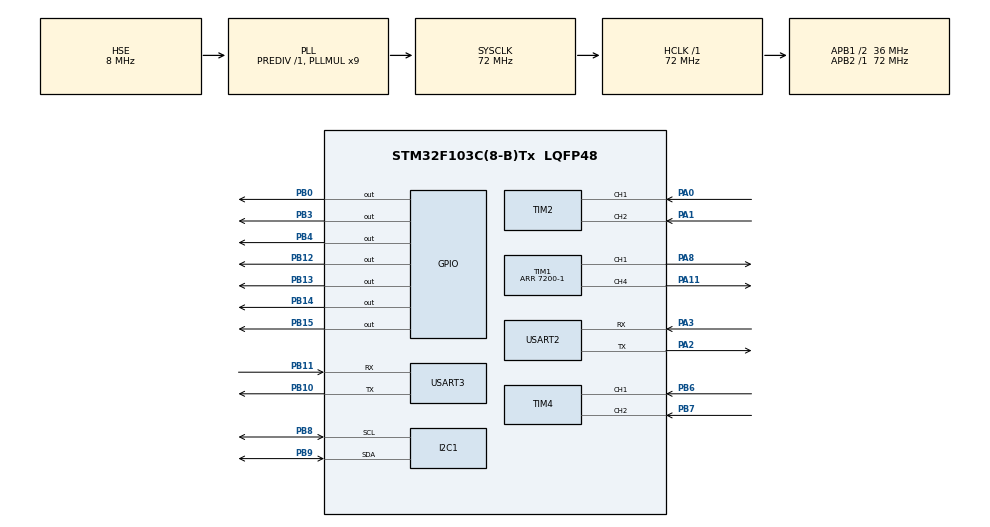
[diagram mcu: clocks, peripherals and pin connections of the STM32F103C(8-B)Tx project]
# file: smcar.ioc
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Mcu.Family=STM32F1
Mcu.Name=STM32F103C(8-B)Tx
Mcu.Package=LQFP48
NVIC.PriorityGroup=NVIC_PRIORITYGROUP_4
NVIC.TIM3_IRQn=true\:0\:0\:false\:false\:true\:true\:true\:true
NVIC.USART2_IRQn=true\:0\:0\:false\:false\:true\:true\:true\:true
PA0-WKUP.Signal=S_TIM2_CH1_ETR
PA1.Signal=S_TIM2_CH2
PA11.Signal=S_TIM1_CH4
PA13.Mode=Serial_Wire
PA13.Signal=SYS_JTMS-SWDIO
PA14.Mode=Serial_Wire
PA14.Signal=SYS_JTCK-SWCLK
PA2.Mode=Asynchronous
PA2.Signal=USART2_TX
PA3.Mode=Asynchronous
PA3.Signal=USART2_RX
PA8.Signal=S_TIM1_CH1
PB0.GPIO_PuPd=GPIO_PULLDOWN
PB0.Signal=GPIO_Output
PB10.Mode=Asynchronous
PB10.Signal=USART3_TX
PB11.Mode=Asynchronous
PB11.Signal=USART3_RX
PB12.Signal=GPIO_Output
PB13.Signal=GPIO_Output
PB14.Signal=GPIO_Output
PB15.Signal=GPIO_Output
PB3.Signal=GPIO_Output
PB4.Signal=GPIO_Output
PB6.Signal=S_TIM4_CH1
PB7.Signal=S_TIM4_CH2
PB8.Mode=I2C
PB8.Signal=I2C1_SCL
PB9.Mode=I2C
PB9.Signal=I2C1_SDA
PC14-OSC32_IN.Mode=LSE-External-Oscillator
PC14-OSC32_IN.Signal=RCC_OSC32_IN
PC15-OSC32_OUT.Mode=LSE-External-Oscillator
PC15-OSC32_OUT.Signal=RCC_OSC32_OUT
PD0-OSC_IN.Mode=HSE-External-Oscillator
PD0-OSC_IN.Signal=RCC_OSC_IN
PD1-OSC_OUT.Mode=HSE-External-Oscillator
PD1-OSC_OUT.Signal=RCC_OSC_OUT
ProjectManager.HeapSize=0x200
ProjectManager.StackSize=0x400
ProjectManager.TargetToolchain=MDK-ARM V5
RCC.AHBFreq_Value=72000000
RCC.APB1CLKDivider=RCC_HCLK_DIV2
RCC.APB1Freq_Value=36000000
RCC.APB1TimFreq_Value=72000000
RCC.APB2Freq_Value=72000000
RCC.APB2TimFreq_Value=72000000
RCC.HCLKFreq_Value=72000000
RCC.PLLMUL=RCC_PLL_MUL9
RCC.PLLSourceVirtual=RCC_PLLSOURCE_HSE
RCC.SYSCLKFreq_VALUE=72000000
RCC.SYSCLKSource=RCC_SYSCLKSOURCE_PLLCLK
RCC.USBFreq_Value=72000000
SH.S_TIM1_CH1.0=TIM1_CH1,PWM Generation1 CH1
SH.S_TIM1_CH4.0=TIM1_CH4,PWM Generation4 CH4
SH.S_TIM2_CH1_ETR.0=TIM2_CH1,Encoder_Interface
SH.S_TIM2_CH2.0=TIM2_CH2,Encoder_Interface
SH.S_TIM4_CH1.0=TIM4_CH1,Encoder_Interface
SH.S_TIM4_CH2.0=TIM4_CH2,Encoder_Interface
TIM1.Channel-PWM\ Generation1\ CH1=TIM_CHANNEL_1
TIM1.Channel-PWM\ Generation4\ CH4=TIM_CHANNEL_4
TIM1.Period=7200-1
TIM1.Pulse-PWM\ Generation1\ CH1=7200
TIM1.Pulse-PWM\ Generation4\ CH4=7200
TIM2.EncoderMode=TIM_ENCODERMODE_TI12
TIM3.Period=100-1
TIM3.Prescaler=7200-1
TIM4.EncoderMode=TIM_ENCODERMODE_TI12
USART2.VirtualMode=VM_ASYNC
USART3.VirtualMode=VM_ASYNC
VP_TIM3_VS_ClockSourceINT.Mode=Internal
board=custom

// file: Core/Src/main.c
/* USER CODE BEGIN Header */
/**
  ******************************************************************************
  * @file           : main.c
  * @brief          : Main program body
  ******************************************************************************
  * @attention
  *
  * Copyright (c) 2025 STMicroelectronics.
  * All rights reserved.
  *
  * This software is licensed under terms that can be found in the LICENSE file
  * in the root directory of this software component.
  * If no LICENSE file comes with this software, it is provided AS-IS.
  *
  ******************************************************************************
  */
/* USER CODE END Header */
#include "main.h"
#include "i2c.h"
#include "tim.h"
#include "usart.h"
#include "gpio.h"

/* USER CODE BEGIN Includes */
#include <stdio.h>
#include <string.h>
#include <stdlib.h>
#include "IIC.h"
#include "inv_mpu.h"
#include "inv_mpu_dmp_motion_driver.h"
#include "mpu6050.h"
#include "tb6612.h"
#include "motorenc.h"
#include "oled.h"
#include "pid.h"
#include "esp.h"
/* USER CODE END Includes */

/* USER CODE BEGIN PD */
#define RXBUFFERSIZE 256
/* USER CODE END PD */

/* USER CODE BEGIN PV */
float p,y,r;
char message1[50] = "";
char message2[50] = "";
char message3[50] = "";
char message4[50] = "";
char message5[50] = "";
short gx,gy,gz;
int enc_left,enc_right;
volatile int total_left = 0;
volatile int total_left2 = 0;
volatile float total_right = 0;
volatile int total_right2 = 0;
volatile float total_rightm = 0;
char RxBuffer[RXBUFFERSIZE];
uint8_t aRxBuffer;
uint8_t Uart2_Rx_Cnt = 0;
char my_order[15]={0};
char receive_flag=0;
uint8_t my_test_v = 0;
int pre_tvalue = 0;
uint8_t count = 0;
uint8_t state = 0;
uint8_t flag = 0;
/* USER CODE END PV */

void SystemClock_Config(void);
/* USER CODE BEGIN PFP */
void read(void);
void HAL_TIM_PeriodElapsedCallback(TIM_HandleTypeDef *htim);
void mode1(void);
void mode2(void);
void mode3(void);
void mode4(void);
/* USER CODE END PFP */

int main(void)
{

  /* MCU Configuration--------------------------------------------------------*/

  /* Reset of all peripherals, Initializes the Flash interface and the Systick. */
  HAL_Init();

  /* Configure the system clock */
  SystemClock_Config();

  /* Initialize all configured peripherals */
  MX_GPIO_Init();
  MX_USART3_UART_Init();
  MX_TIM1_Init();
  MX_TIM2_Init();
  MX_TIM4_Init();
  MX_I2C1_Init();
  MX_TIM3_Init();
  MX_USART2_UART_Init();
  /* USER CODE BEGIN 2 */
	OLED_Init();
	mpu_init();
	mpu_dmp_init();
  OLED_Clear();
	HAL_UART_Receive_IT(&huart2, (uint8_t *)&aRxBuffer, 1);
	esp8266_start_trans();
	tb6612_init();
	enc_init();
	while(mpu_dmp_get_data(&p,&r,&y));
	OLED_ShowString(1,1,"OK",8,1);
	OLED_Refresh();
	motorcontrol(0,0);
	HAL_TIM_Base_Start_IT(&htim3);
  /* USER CODE END 2 */

  /* Infinite loop */
  /* USER CODE BEGIN WHILE */
  while (1)
  {
//		while(mpu_dmp_get_data(&p,&r,&y));
//		sprintf(message2,"pitch:%3f\n",p);
//    OLED_ShowString(1,1,(uint8_t*)message2,8,1);
//    sprintf((char*)message3,"roll:%3f\n",r);
//    OLED_ShowString(1,10,(uint8_t*)message3,8,1);
//    sprintf((char*)message4,"yaw:%3f\n\n",y);
//    OLED_ShowString(1,20,(uint8_t*)message4,8,1);
//		OLED_Refresh();
//		HAL_Delay(50);
//		OLED_Clear();
//		read();
//		sprintf(message2,"left:%d",enc_left);
//		sprintf((char*)message3,"right:%d",enc_right);
//		sprintf(message4,"right:%.2f",total_right);
//		sprintf((char*)message1,"right2:%d",total_right2);
//		sprintf((char*)message5,"rightm:%d",total_right2);
//		OLED_ShowString(1,1,(uint8_t*)message2,8,1);
//		OLED_ShowString(1,10,(uint8_t*)message3,8,1);
//		OLED_ShowString(1,20,(uint8_t*)message4,8,1);
//		OLED_ShowString(1,30,(uint8_t*)message1,8,1);
//		OLED_ShowString(1,40,(uint8_t*)message5,8,1);
//		OLED_Refresh();
//		HAL_Delay(50);
//		control();
		if(count >= 50){
			Target_Speed = 0;
		}
//		sprintf(message2,"left:%d",Enc_left);
//    OLED_ShowString(1,1,(uint8_t*)message2,8,1);
//    sprintf((char*)message3,"right:%d",Enc_right);
//    OLED_ShowString(1,10,(uint8_t*)message3,8,1);
//		OLED_Refresh();
//		HAL_Delay(10);
		if(receive_flag)
			{
				receive_flag=0;
				if(strstr((const char*)my_order,(const char*)"<speed 1>")) //??on,LED0?
				{
					Uart2_Rx_Cnt=0;
					memset(RxBuffer,0x00,sizeof(RxBuffer)); //????
					memset(RxBuffer,0x00,sizeof(my_order)); //????
					pre_tvalue = 6;
				}
				else if(strstr((const char*)my_order,(const char*)"<speed 2>"))
				{
					Uart2_Rx_Cnt=0;
					memset(RxBuffer,0x00,sizeof(RxBuffer)); //????
					memset(RxBuffer,0x00,sizeof(my_order)); //????
					pre_tvalue = 12;
				}
				else if(strstr((const char*)my_order,(const char*)"<speed 3>"))
				{
					Uart2_Rx_Cnt=0;
					memset(RxBuffer,0x00,sizeof(RxBuffer)); //????
					memset(RxBuffer,0x00,sizeof(my_order)); //????
					pre_tvalue = 18;
				}
				else if(strstr((const char*)my_order,(const char*)"<speed 4>"))
				{
					Uart2_Rx_Cnt=0;
					memset(RxBuffer,0x00,sizeof(RxBuffer)); //????
					memset(RxBuffer,0x00,sizeof(my_order)); //????
					pre_tvalue = 24;
				}
				else if(strstr((const char*)my_order,(const char*)"<speed 5>"))
				{
					Uart2_Rx_Cnt=0;
					memset(RxBuffer,0x00,sizeof(RxBuffer)); //????
					memset(RxBuffer,0x00,sizeof(my_order)); //????
					pre_tvalue = 30;
				}
				else if(strstr((const char*)my_order,(const char*)"<position +1>"))
				{
					Uart2_Rx_Cnt=0;
					memset(RxBuffer,0x00,sizeof(RxBuffer)); //????
					memset(RxBuffer,0x00,sizeof(my_order)); //????
					Target_Speed = pre_tvalue;
					count = 0;
				}
				else if(strstr((const char*)my_order,(const char*)"<position -1>"))
				{
					Uart2_Rx_Cnt=0;
					memset(RxBuffer,0x00,sizeof(RxBuffer)); //????
					memset(RxBuffer,0x00,sizeof(my_order)); //????
					Target_Speed = -pre_tvalue;
					count = 0;
				}
				else if(strstr((const char*)my_order,(const char*)"<turn +1>"))
				{
					Uart2_Rx_Cnt=0;
					memset(RxBuffer,0x00,sizeof(RxBuffer)); //????
					memset(RxBuffer,0x00,sizeof(my_order)); //????
					Target_turn += 20;
					if(Target_turn >= 50){
						Target_turn = 50;
					}
					count = 0;
					uint32_t tick1 = HAL_GetTick();
					uint32_t tick2 = HAL_GetTick();
					while(tick2 - tick1 <= 200){
						tick2 = HAL_GetTick();
					}
					Target_turn = 0;
				}
				else if(strstr((const char*)my_order,(const char*)"<turn -1>"))
				{
					Uart2_Rx_Cnt=0;
					memset(RxBuffer,0x00,sizeof(RxBuffer)); //????
					memset(RxBuffer,0x00,sizeof(my_order)); //????
					Target_turn -= 20;
					if(Target_turn <= -50){
						Target_turn = -50;
					}
					count = 0;
					uint32_t tick1 = HAL_GetTick();
					uint32_t tick2 = HAL_GetTick();
					while(tick2 - tick1 <= 200){
						tick2 = HAL_GetTick();
					}
					Target_turn = 0;
				}
				else if(strstr((const char*)my_order,(const char*)"<mode 1>"))
				{
					Uart2_Rx_Cnt=0;
					memset(RxBuffer,0x00,sizeof(RxBuffer)); //????
					memset(RxBuffer,0x00,sizeof(my_order)); //????
					mode1();
				}
				else if(strstr((const char*)my_order,(const char*)"<mode 2>"))
				{
					Uart2_Rx_Cnt=0;
					memset(RxBuffer,0x00,sizeof(RxBuffer)); //????
					memset(RxBuffer,0x00,sizeof(my_order)); //????
					mode2();
				}
				else if(strstr((const char*)my_order,(const char*)"<restart>"))
				{
					Uart2_Rx_Cnt=0;
					memset(RxBuffer,0x00,sizeof(RxBuffer)); //????
					memset(RxBuffer,0x00,sizeof(my_order)); //????
					NVIC_SystemReset();
				}
				else if(strstr((const char*)my_order,(const char*)"<state>"))
				{
					Uart2_Rx_Cnt=0;
					memset(RxBuffer,0x00,sizeof(RxBuffer)); //????
					memset(RxBuffer,0x00,sizeof(my_order)); //????
					esp8266_send_cmd("AT+CIPSEND=0,3","OK",50);
					esp8266_send_cmd("Yes","OK",50);
				}
				else if(strstr((const char*)my_order,(const char*)"<mode 3>"))
				{
					Uart2_Rx_Cnt=0;
					memset(RxBuffer,0x00,sizeof(RxBuffer)); //????
					memset(RxBuffer,0x00,sizeof(my_order)); //????
					mode3();
				}
				else if(strstr((const char*)my_order,(const char*)"<mode 4>"))
				{
					Uart2_Rx_Cnt=0;
					memset(RxBuffer,0x00,sizeof(RxBuffer)); //????
					memset(RxBuffer,0x00,sizeof(my_order)); //????
					mode4();
				}
				else{
					Uart2_Rx_Cnt=0;
					memset(RxBuffer,0x00,sizeof(RxBuffer)); //????
					memset(RxBuffer,0x00,sizeof(my_order)); //????
				}

			}
//			if(total_right2 >= 2400 || total_right2 <= -2400){
//				Target_Speed = 0;
//			}

    /* USER CODE END WHILE */

  }
}

void SystemClock_Config(void)
{
  RCC_OscInitTypeDef RCC_OscInitStruct = {0};
  RCC_ClkInitTypeDef RCC_ClkInitStruct = {0};

  /** Initializes the RCC Oscillators according to the specified parameters
  * in the RCC_OscInitTypeDef structure.
  */
  RCC_OscInitStruct.OscillatorType = RCC_OSCILLATORTYPE_HSE;
  RCC_OscInitStruct.HSEState = RCC_HSE_ON;
  RCC_OscInitStruct.HSEPredivValue = RCC_HSE_PREDIV_DIV1;
  RCC_OscInitStruct.HSIState = RCC_HSI_ON;
  RCC_OscInitStruct.PLL.PLLState = RCC_PLL_ON;
  RCC_OscInitStruct.PLL.PLLSource = RCC_PLLSOURCE_HSE;
  RCC_OscInitStruct.PLL.PLLMUL = RCC_PLL_MUL9;
  if (HAL_RCC_OscConfig(&RCC_OscInitStruct) != HAL_OK)
  {
    Error_Handler();
  }

  /** Initializes the CPU, AHB and APB buses clocks
  */
  RCC_ClkInitStruct.ClockType = RCC_CLOCKTYPE_HCLK|RCC_CLOCKTYPE_SYSCLK
                              |RCC_CLOCKTYPE_PCLK1|RCC_CLOCKTYPE_PCLK2;
  RCC_ClkInitStruct.SYSCLKSource = RCC_SYSCLKSOURCE_PLLCLK;
  RCC_ClkInitStruct.AHBCLKDivider = RCC_SYSCLK_DIV1;
  RCC_ClkInitStruct.APB1CLKDivider = RCC_HCLK_DIV2;
  RCC_ClkInitStruct.APB2CLKDivider = RCC_HCLK_DIV1;

  if (HAL_RCC_ClockConfig(&RCC_ClkInitStruct, FLASH_LATENCY_2) != HAL_OK)
  {
    Error_Handler();
  }
}

/* USER CODE BEGIN 4 */
void read(void){
//	enc_left = read_enc(&htim2);
//	enc_right = -read_enc(&htim4);
	total_right2 += Enc_right;
	total_left2 += Enc_left;
//	total_left = total_left2 / 1320;
//	total_right = (float)total_right2 / 1320;
//	total_rightm = total_right * 0.22;
}

void HAL_TIM_PeriodElapsedCallback(TIM_HandleTypeDef *htim) {
	if (htim->Instance == TIM3) {
			control();
			count++;
	}
}

void HAL_UART_RxCpltCallback(UART_HandleTypeDef *huart)
{
  /* Prevent unused argument(s) compilation warning */
  UNUSED(huart);
  /* NOTE: This function Should not be modified, when the callback is needed,
           the HAL_UART_TxCpltCallback could be implemented in the user file
   */

	if(Uart2_Rx_Cnt >= 255)  //????
	{
		Uart2_Rx_Cnt = 0;
		memset(RxBuffer,0x00,sizeof(RxBuffer));
	}
	else
	{
		static uint8_t Uart2_count=0;

		RxBuffer[Uart2_Rx_Cnt] = aRxBuffer;   //??????
		if(receive_flag==0)
		{
		if(RxBuffer[Uart2_Rx_Cnt-Uart2_count]=='<')
		{
			Uart2_count++;
		if((RxBuffer[Uart2_Rx_Cnt]=='>')||Uart2_count>=14)
		{
			uint8_t My_i=0;
		for(int i=Uart2_Rx_Cnt-Uart2_count+1;i<Uart2_Rx_Cnt+1;i++)
			my_order[My_i++]=RxBuffer[i];
			receive_flag=1;
			Uart2_count=0;
		}
	}
	}
		Uart2_Rx_Cnt++;
	}

	HAL_UART_Receive_IT(&huart2, (uint8_t *)&aRxBuffer, 1);   //???????
}

void mode1(void){
	Target_Speed = 20;
	uint32_t tick1 = HAL_GetTick();
	uint32_t tick2 = HAL_GetTick();
	while(tick2 - tick1 <= 500){
		tick2 = HAL_GetTick();
	}
	Target_Speed = 40;
	while(1){
		read();
		sprintf((char*)message1,"right2:%d",total_right2);
		OLED_ShowString(1,30,(uint8_t*)message1,8,1);
		OLED_Refresh();
		if(total_right2 >= 4200 || total_right2 <= -4200){
			Target_Speed = 0;
			break;
		}
	}
}

void mode2(void){
	Target_Speed = 20;
	uint32_t tick1 = HAL_GetTick();
	uint32_t tick2 = HAL_GetTick();
	while(tick2 - tick1 <= 500){
		tick2 = HAL_GetTick();
	}
	Target_Speed = 40;
	tick1 = HAL_GetTick();
	tick2 = HAL_GetTick();
	while(tick2 - tick1 <= 500){
		tick2 = HAL_GetTick();
	}
	Target_Speed = 60;
	tick1 = HAL_GetTick();
	tick2 = HAL_GetTick();
	while(tick2 - tick1 <= 1000){
		tick2 = HAL_GetTick();
	}
	Target_Speed = 75;
	Target_turn = 28;
	while(1){
				if(receive_flag)
			{
				receive_flag=0;
				if(strstr((const char*)my_order,(const char*)"<exit>")) //??on,LED0?
				{
					Uart2_Rx_Cnt=0;
					memset(RxBuffer,0x00,sizeof(RxBuffer)); //????
					memset(RxBuffer,0x00,sizeof(my_order)); //????
					Target_Speed = 0;
					Target_turn = 0;
					break;
				}
			}
	}
}

//void mode3(void){
//	Target_Speed = 5;
//	OLED_ShowString(1,30,"MODE3",8,1);
//	OLED_Refresh();
//	uint32_t a = 0;
//	while(1){
//		a = HAL_GetTick();
//	}
//}

void mode3(void){
	OLED_ShowString(1,30,"MODE3",8,1);
	OLED_Refresh();
	while(1){
		uint8_t flag = 0;
		Target_Speed = 20;
		uint32_t tick1 = HAL_GetTick();
		uint32_t tick2 = HAL_GetTick();
		while(tick2 - tick1 <= 3000){
			tick2 = HAL_GetTick();
			if(receive_flag)
			{
				receive_flag=0;
				if(strstr((const char*)my_order,(const char*)"<exit>")) //??on,LED0?
				{
					Uart2_Rx_Cnt=0;
					memset(RxBuffer,0x00,sizeof(RxBuffer)); //????
					memset(RxBuffer,0x00,sizeof(my_order)); //????
					Target_Speed = 0;
					flag = 1;
					break;
				}
			}
		}
		Target_Speed = 0;
		tick1 = HAL_GetTick();
		tick2 = HAL_GetTick();
		while(tick2 - tick1 <= 3000){
			tick2 = HAL_GetTick();
			if(receive_flag)
			{
				receive_flag=0;
				if(strstr((const char*)my_order,(const char*)"<exit>")) //??on,LED0?
				{
					Uart2_Rx_Cnt=0;
					memset(RxBuffer,0x00,sizeof(RxBuffer)); //????
					memset(RxBuffer,0x00,sizeof(my_order)); //????
					Target_Speed = 0;
					flag = 1;
					break;
				}
			}
		}
		if(flag == 1){
			flag = 0;
			break;
		}
		Target_Speed = 25;
		tick1 = HAL_GetTick();
		tick2 = HAL_GetTick();
		while(tick2 - tick1 <= 3000){
			tick2 = HAL_GetTick();
			if(receive_flag)
			{
				receive_flag=0;
				if(strstr((const char*)my_order,(const char*)"<exit>")) //??on,LED0?
				{
					Uart2_Rx_Cnt=0;
					memset(RxBuffer,0x00,sizeof(RxBuffer)); //????
					memset(RxBuffer,0x00,sizeof(my_order)); //????
					Target_Speed = 0;
					flag = 1;
					break;
				}
			}
		}
		Target_Speed = 0;
		tick1 = HAL_GetTick();
		tick2 = HAL_GetTick();
		while(tick2 - tick1 <= 3000){
			tick2 = HAL_GetTick();
			if(receive_flag)
			{
				receive_flag=0;
				if(strstr((const char*)my_order,(const char*)"<exit>")) //??on,LED0?
				{
					Uart2_Rx_Cnt=0;
					memset(RxBuffer,0x00,sizeof(RxBuffer)); //????
					memset(RxBuffer,0x00,sizeof(my_order)); //????
					Target_Speed = 0;
					flag = 1;
					break;
				}
			}
		}
		if(flag == 1){
			flag = 0;
			break;
		}
		Target_Speed = 30;
		tick1 = HAL_GetTick();
		tick2 = HAL_GetTick();
		while(tick2 - tick1 <= 3000){
			tick2 = HAL_GetTick();
			if(receive_flag)
			{
				receive_flag=0;
				if(strstr((const char*)my_order,(const char*)"<exit>")) //??on,LED0?
				{
					Uart2_Rx_Cnt=0;
					memset(RxBuffer,0x00,sizeof(RxBuffer)); //????
					memset(RxBuffer,0x00,sizeof(my_order)); //????
					Target_Speed = 0;
					flag = 1;
					break;
				}
			}
		}
		Target_Speed = 0;
		tick1 = HAL_GetTick();
		tick2 = HAL_GetTick();
		while(tick2 - tick1 <= 3000){
			tick2 = HAL_GetTick();
			if(receive_flag)
			{
				receive_flag=0;
				if(strstr((const char*)my_order,(const char*)"<exit>")) //??on,LED0?
				{
					Uart2_Rx_Cnt=0;
					memset(RxBuffer,0x00,sizeof(RxBuffer)); //????
					memset(RxBuffer,0x00,sizeof(my_order)); //????
					Target_Speed = 0;
					flag = 1;
					break;
				}
			}
		}
		if(flag == 1){
			flag = 0;
			break;
		}
	}
}

void mode4(void){
	OLED_ShowString(1,30,"MODE4",8,1);
	OLED_Refresh();
	Target_turn = 30;
	while(1){
		uint8_t flag = 0;
		Target_Speed = 20;
		uint32_t tick1 = HAL_GetTick();
		uint32_t tick2 = HAL_GetTick();
		while(tick2 - tick1 <= 3000){
			tick2 = HAL_GetTick();
			if(receive_flag)
			{
				receive_flag=0;
				if(strstr((const char*)my_order,(const char*)"<exit>")) //??on,LED0?
				{
					Uart2_Rx_Cnt=0;
					memset(RxBuffer,0x00,sizeof(RxBuffer)); //????
					memset(RxBuffer,0x00,sizeof(my_order)); //????
					Target_Speed = 0;
					flag = 1;
					break;
				}
			}
		}
		if(flag == 1){
			flag = 0;
			break;
		}
		Target_Speed = 25;
		tick1 = HAL_GetTick();
		tick2 = HAL_GetTick();
		while(tick2 - tick1 <= 3000){
			tick2 = HAL_GetTick();
			if(receive_flag)
			{
				receive_flag=0;
				if(strstr((const char*)my_order,(const char*)"<exit>")) //??on,LED0?
				{
					Uart2_Rx_Cnt=0;
					memset(RxBuffer,0x00,sizeof(RxBuffer)); //????
					memset(RxBuffer,0x00,sizeof(my_order)); //????
					Target_Speed = 0;
					flag = 1;
					break;
				}
			}
		}
		if(flag == 1){
			flag = 0;
			break;
		}
		Target_Speed = 30;
		tick1 = HAL_GetTick();
		tick2 = HAL_GetTick();
		while(tick2 - tick1 <= 3000){
			tick2 = HAL_GetTick();
			if(receive_flag)
			{
				receive_flag=0;
				if(strstr((const char*)my_order,(const char*)"<exit>")) //??on,LED0?
				{
					Uart2_Rx_Cnt=0;
					memset(RxBuffer,0x00,sizeof(RxBuffer)); //????
					memset(RxBuffer,0x00,sizeof(my_order)); //????
					Target_Speed = 0;
					flag = 1;
					break;
				}
			}
		}
		if(flag == 1){
			flag = 0;
			break;
		}
	}
}
/* USER CODE END 4 */

void Error_Handler(void)
{
  __disable_irq();
  while (1)
  {
  }
}
